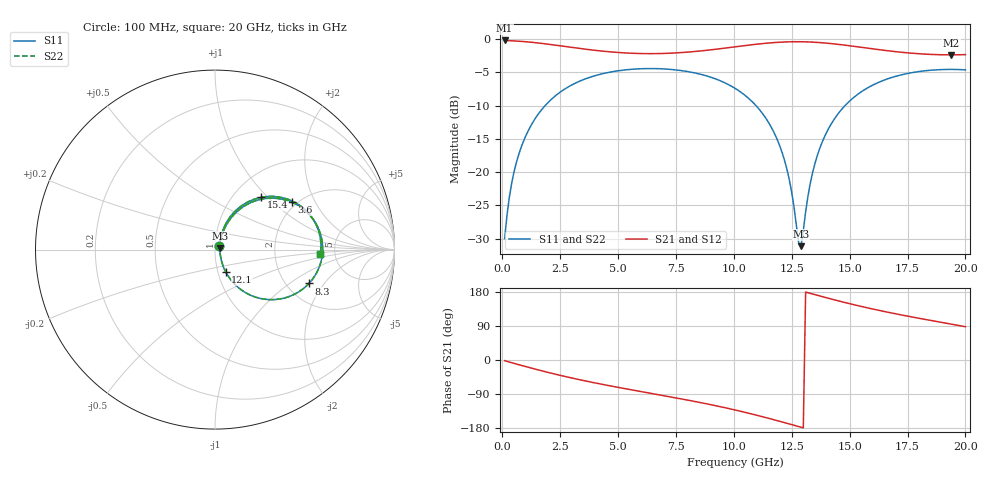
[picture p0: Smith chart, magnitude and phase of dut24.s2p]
! Touchstone file exported from HFSS 2026.1.0
!  File:  C:/ffzhzh/LocalFiles/Ansys_Project_Files/temp_train_TSV_RDL_24_1782963144_45748.aedt
!  Generated:  11:42:32 AM Jul  2, 2026
!  Design:  TSV_RDL
!  Project:  temp_train_TSV_RDL_24_1782963144_45748
! Variables:
!  h_bsmrdl = 3.33um
!  h_ox = 20um
!  h_rdl = 5um
!  h_sub = 62.91um
!  h_tmrdl = 3.1um
!  h_tsv = 62.91um
!  h_via = 3um
!  l_bsmrdl = 813.26um
!  l_sub = 4786.23um
!  l_tmrdl = 457.22um
!  m_sub = 200um
!  pitch = 53.99um
!  r_tsv = 10.07um
!  s_tmrdl = 10um
!  w_bsmrdl = 21.12um
!  w_sub = 500um
!  w_tmrdl = 18.07um
!  x_tsv_center1 = 466.255um
!  x_tsv_center2 = 1300.635um
!  x_tsv_center3 = 1775.925um
!  x_tsv_center4 = 2610.305um
!  x_tsv_center5 = 3085.595um
!  x_tsv_center6 = 3919.975um
# GHz S MA R 50.000000
! Terminal data exported
! Port[1] = TM_RDL1_1_T1
! Port[2] = TM_RDL5_1_T1
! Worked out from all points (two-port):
!   200 points, 100 MHz to 20 GHz, reference 50 ohm
!   highest |S21| = -0.22 dB at 100 MHz (marker M1); lowest = -2.4 dB at 19.4 GHz (marker M2)
!   |S21| within 3 dB of the highest: start of sweep to end of sweep
!   lowest |S11| = -31.1 dB at 12.9 GHz (marker M3), VSWR 1.06, Z = 52.7 + j0.742 ohm
!   |S11| at or under -10 dB: start of sweep to 1.854 GHz; 10.95 GHz to 14.8 GHz (3.853 GHz wide, 29.9 % of centre)
!   |S22| runs from -31.0 to -4.4 dB; largest |S21 - S12| = 1.6e-14
!   S11 on the Smith chart (normalised r, x): 100 MHz: 1.05, +0.04; 3.6 GHz: 1.88, +1.33; 8.3 GHz: 2.63, -1.44; 12.1 GHz: 1.09, -0.28; 15.4 GHz: 1.34, +0.92; 20 GHz: 3.81, -0.31
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0.1  0.03153 37.4  0.9754 -1.8  0.9754 -1.8  0.03153 37.4
! Gamma 0 0 0 0
! Port Impedance 50 0 50 0
0.3  0.06398 60.7  0.9723 -5.3  0.9723 -5.3  0.06398 60.7
0.5  0.09904 65.1  0.968 -8.8  0.968 -8.8  0.09904 65.1
1.1  0.2011 62.9  0.951 -18.8  0.951 -18.8  0.2011 62.9
2.1  0.3496 50.7  0.9086 -34.6  0.9086 -34.6  0.3496 50.7
3.5  0.4949 32.9  0.8423 -54.1  0.8423 -54.1  0.4949 32.9
3.6  0.5025 31.7  0.8381 -55.4  0.8381 -55.4  0.5025 31.7
5.2  0.5831 13.5  0.7878 -74.5  0.7878 -74.5  0.5831 13.5
6.8  0.5979 -3.5  0.7776 -92.2  0.7776 -92.2  0.5979 -3.5
8.3  0.5566 -19.8  0.8051 -109.2  0.8051 -109.2  0.5566 -19.8
10.1  0.4208 -41.5  0.8756 -132.5  0.8756 -132.5  0.4208 -41.5
11.3  0.2661 -57.0  0.9263 -150.7  0.9263 -150.7  0.2662 -56.9
12.1  0.1375 -64.4  0.9486 -163.8  0.9486 -163.8  0.1376 -64.1
12.5  0.07023 -59.7  0.9537 -170.6  0.9537 -170.6  0.07041 -59.3
12.8  0.02924 -20.1  0.9544 -175.7  0.9544 -175.7  0.02971 -19.6
12.9  0.02771 14.7  0.954 -177.4  0.954 -177.4  0.02823 14.5
13.4  0.09872 67.0  0.9478 174.2  0.9478 174.2  0.09889 66.8
14.2  0.229 63.3  0.9242 161.0  0.9242 161.0  0.2291 63.2
15.4  0.3896 48.4  0.8712 142.8  0.8712 142.8  0.3897 48.4
16.7  0.5059 32.6  0.8139 125.4  0.8139 125.4  0.5059 32.6
19.4  0.5909 3.6  0.7603 94.5  0.7603 94.5  0.591 3.6
20  0.5864 -2.6  0.7634 87.9  0.7634 87.9  0.5865 -2.6
